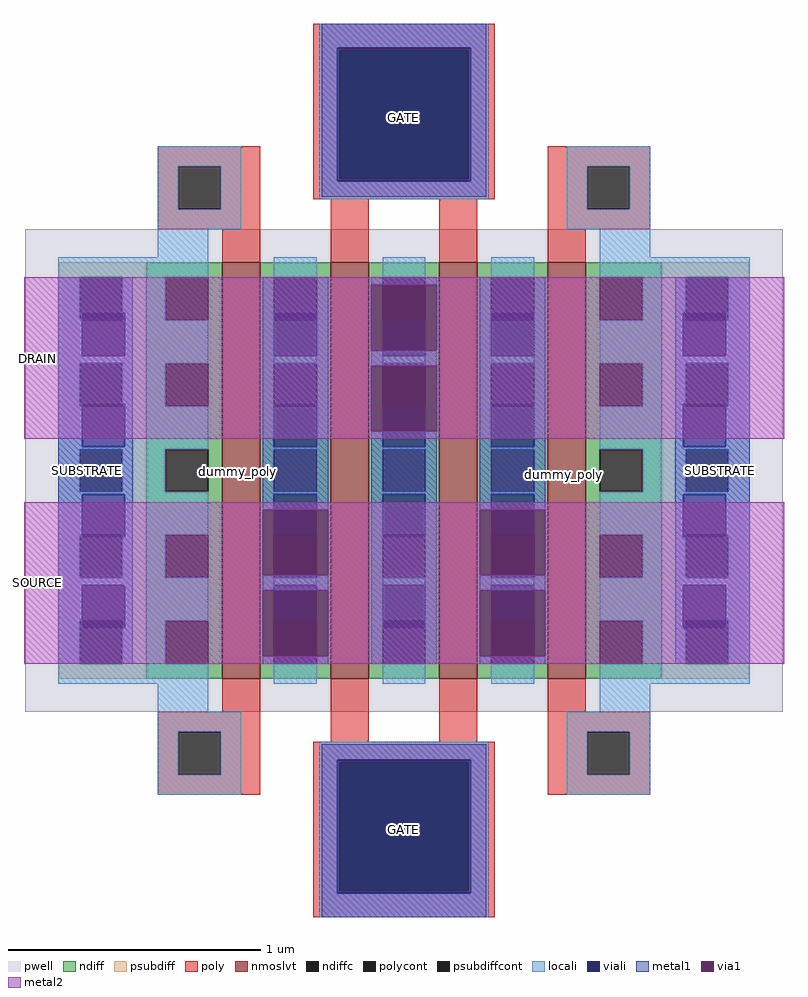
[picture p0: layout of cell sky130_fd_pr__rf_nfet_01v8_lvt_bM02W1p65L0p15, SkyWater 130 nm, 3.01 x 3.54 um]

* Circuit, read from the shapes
.subckt sky130_fd_pr__rf_nfet_01v8_lvt_bM02W1p65L0p15 DRAIN GATE SOURCE SUBSTRATE
XM1 SOURCE SUBSTRATE SUBSTRATE SUBSTRATE sky130_fd_pr__nfet_01v8_lvt w=1.65 l=0.15 m=2
XM2 DRAIN GATE SOURCE SUBSTRATE sky130_fd_pr__nfet_01v8_lvt w=1.65 l=0.15 m=2
.ends

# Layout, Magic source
magic
tech sky130A
magscale 1 2
<< pwell >>
rect 15 163 615 545
<< nmoslvt >>
rect 171 189 201 519
rect 257 189 287 519
rect 343 189 373 519
rect 429 189 459 519
<< ndiff >>
rect 111 507 171 519
rect 111 473 126 507
rect 160 473 171 507
rect 111 439 171 473
rect 111 405 126 439
rect 160 405 171 439
rect 111 371 171 405
rect 111 337 126 371
rect 160 337 171 371
rect 111 303 171 337
rect 111 269 126 303
rect 160 269 171 303
rect 111 235 171 269
rect 111 201 126 235
rect 160 201 171 235
rect 111 189 171 201
rect 201 507 257 519
rect 201 473 212 507
rect 246 473 257 507
rect 201 439 257 473
rect 201 405 212 439
rect 246 405 257 439
rect 201 371 257 405
rect 201 337 212 371
rect 246 337 257 371
rect 201 303 257 337
rect 201 269 212 303
rect 246 269 257 303
rect 201 235 257 269
rect 201 201 212 235
rect 246 201 257 235
rect 201 189 257 201
rect 287 507 343 519
rect 287 473 298 507
rect 332 473 343 507
rect 287 439 343 473
rect 287 405 298 439
rect 332 405 343 439
rect 287 371 343 405
rect 287 337 298 371
rect 332 337 343 371
rect 287 303 343 337
rect 287 269 298 303
rect 332 269 343 303
rect 287 235 343 269
rect 287 201 298 235
rect 332 201 343 235
rect 287 189 343 201
rect 373 507 429 519
rect 373 473 384 507
rect 418 473 429 507
rect 373 439 429 473
rect 373 405 384 439
rect 418 405 429 439
rect 373 371 429 405
rect 373 337 384 371
rect 418 337 429 371
rect 373 303 429 337
rect 373 269 384 303
rect 418 269 429 303
rect 373 235 429 269
rect 373 201 384 235
rect 418 201 429 235
rect 373 189 429 201
rect 459 507 519 519
rect 459 473 470 507
rect 504 473 519 507
rect 459 439 519 473
rect 459 405 470 439
rect 504 405 519 439
rect 459 371 519 405
rect 459 337 470 371
rect 504 337 519 371
rect 459 303 519 337
rect 459 269 470 303
rect 504 269 519 303
rect 459 235 519 269
rect 459 201 470 235
rect 504 201 519 235
rect 459 189 519 201
<< ndiffc >>
rect 126 473 160 507
rect 126 405 160 439
rect 126 337 160 371
rect 126 269 160 303
rect 126 201 160 235
rect 212 473 246 507
rect 212 405 246 439
rect 212 337 246 371
rect 212 269 246 303
rect 212 201 246 235
rect 298 473 332 507
rect 298 405 332 439
rect 298 337 332 371
rect 298 269 332 303
rect 298 201 332 235
rect 384 473 418 507
rect 384 405 418 439
rect 384 337 418 371
rect 384 269 418 303
rect 384 201 418 235
rect 470 473 504 507
rect 470 405 504 439
rect 470 337 504 371
rect 470 269 504 303
rect 470 201 504 235
<< psubdiff >>
rect 41 507 111 519
rect 41 473 58 507
rect 92 473 111 507
rect 41 439 111 473
rect 41 405 58 439
rect 92 405 111 439
rect 41 371 111 405
rect 41 337 58 371
rect 92 337 111 371
rect 41 303 111 337
rect 41 269 58 303
rect 92 269 111 303
rect 41 235 111 269
rect 41 201 58 235
rect 92 201 111 235
rect 41 189 111 201
rect 519 507 589 519
rect 519 473 538 507
rect 572 473 589 507
rect 519 439 589 473
rect 519 405 538 439
rect 572 405 589 439
rect 519 371 589 405
rect 519 337 538 371
rect 572 337 589 371
rect 519 303 589 337
rect 519 269 538 303
rect 572 269 589 303
rect 519 235 589 269
rect 519 201 538 235
rect 572 201 589 235
rect 519 189 589 201
<< psubdiffcont >>
rect 58 473 92 507
rect 58 405 92 439
rect 58 337 92 371
rect 58 269 92 303
rect 58 201 92 235
rect 538 473 572 507
rect 538 405 572 439
rect 538 337 572 371
rect 538 269 572 303
rect 538 201 572 235
<< poly >>
rect 243 687 387 708
rect 120 595 201 611
rect 120 561 136 595
rect 170 561 201 595
rect 243 585 264 687
rect 366 585 387 687
rect 243 569 387 585
rect 429 595 510 611
rect 120 545 201 561
rect 171 519 201 545
rect 257 519 287 569
rect 343 519 373 569
rect 429 561 460 595
rect 494 561 510 595
rect 429 545 510 561
rect 429 519 459 545
rect 171 163 201 189
rect 120 147 201 163
rect 120 113 136 147
rect 170 113 201 147
rect 257 139 287 189
rect 343 139 373 189
rect 429 163 459 189
rect 429 147 510 163
rect 120 97 201 113
rect 243 123 387 139
rect 243 21 264 123
rect 366 21 387 123
rect 429 113 460 147
rect 494 113 510 147
rect 429 97 510 113
rect 243 0 387 21
<< polycont >>
rect 136 561 170 595
rect 264 585 366 687
rect 460 561 494 595
rect 136 113 170 147
rect 264 21 366 123
rect 460 113 494 147
<< locali >>
rect 248 689 382 708
rect 120 595 186 611
rect 120 561 136 595
rect 170 561 186 595
rect 248 583 262 689
rect 368 583 382 689
rect 248 569 382 583
rect 444 595 510 611
rect 120 545 186 561
rect 444 561 460 595
rect 494 561 510 595
rect 444 545 510 561
rect 120 523 160 545
rect 470 523 510 545
rect 41 507 160 523
rect 41 473 58 507
rect 92 479 126 507
rect 94 473 126 479
rect 41 445 60 473
rect 94 445 160 473
rect 41 439 160 445
rect 41 405 58 439
rect 92 407 126 439
rect 94 405 126 407
rect 41 373 60 405
rect 94 373 160 405
rect 41 371 160 373
rect 41 337 58 371
rect 92 337 126 371
rect 41 335 160 337
rect 41 303 60 335
rect 94 303 160 335
rect 41 269 58 303
rect 94 301 126 303
rect 92 269 126 301
rect 41 263 160 269
rect 41 235 60 263
rect 94 235 160 263
rect 41 201 58 235
rect 94 229 126 235
rect 92 201 126 229
rect 41 185 160 201
rect 212 507 246 523
rect 212 439 246 445
rect 212 371 246 373
rect 212 335 246 337
rect 212 263 246 269
rect 212 185 246 201
rect 298 507 332 523
rect 298 439 332 445
rect 298 371 332 373
rect 298 335 332 337
rect 298 263 332 269
rect 298 185 332 201
rect 384 507 418 523
rect 384 439 418 445
rect 384 371 418 373
rect 384 335 418 337
rect 384 263 418 269
rect 384 185 418 201
rect 470 507 589 523
rect 504 479 538 507
rect 504 473 536 479
rect 572 473 589 507
rect 470 445 536 473
rect 570 445 589 473
rect 470 439 589 445
rect 504 407 538 439
rect 504 405 536 407
rect 572 405 589 439
rect 470 373 536 405
rect 570 373 589 405
rect 470 371 589 373
rect 504 337 538 371
rect 572 337 589 371
rect 470 335 589 337
rect 470 303 536 335
rect 570 303 589 335
rect 504 301 536 303
rect 504 269 538 301
rect 572 269 589 303
rect 470 263 589 269
rect 470 235 536 263
rect 570 235 589 263
rect 504 229 536 235
rect 504 201 538 229
rect 572 201 589 235
rect 470 185 589 201
rect 120 163 160 185
rect 470 163 510 185
rect 120 147 186 163
rect 120 113 136 147
rect 170 113 186 147
rect 444 147 510 163
rect 120 97 186 113
rect 248 125 382 139
rect 248 19 262 125
rect 368 19 382 125
rect 444 113 460 147
rect 494 113 510 147
rect 444 97 510 113
rect 248 0 382 19
<< viali >>
rect 262 687 368 689
rect 262 585 264 687
rect 264 585 366 687
rect 366 585 368 687
rect 262 583 368 585
rect 60 473 92 479
rect 92 473 94 479
rect 60 445 94 473
rect 60 405 92 407
rect 92 405 94 407
rect 60 373 94 405
rect 60 303 94 335
rect 60 301 92 303
rect 92 301 94 303
rect 60 235 94 263
rect 60 229 92 235
rect 92 229 94 235
rect 212 473 246 479
rect 212 445 246 473
rect 212 405 246 407
rect 212 373 246 405
rect 212 303 246 335
rect 212 301 246 303
rect 212 235 246 263
rect 212 229 246 235
rect 298 473 332 479
rect 298 445 332 473
rect 298 405 332 407
rect 298 373 332 405
rect 298 303 332 335
rect 298 301 332 303
rect 298 235 332 263
rect 298 229 332 235
rect 384 473 418 479
rect 384 445 418 473
rect 384 405 418 407
rect 384 373 418 405
rect 384 303 418 335
rect 384 301 418 303
rect 384 235 418 263
rect 384 229 418 235
rect 536 473 538 479
rect 538 473 570 479
rect 536 445 570 473
rect 536 405 538 407
rect 538 405 570 407
rect 536 373 570 405
rect 536 303 570 335
rect 536 301 538 303
rect 538 301 570 303
rect 536 235 570 263
rect 536 229 538 235
rect 538 229 570 235
rect 262 123 368 125
rect 262 21 264 123
rect 264 21 366 123
rect 366 21 368 123
rect 262 19 368 21
<< metal1 >>
rect 250 689 380 708
rect 250 583 262 689
rect 368 583 380 689
rect 250 571 380 583
rect 41 479 100 507
rect 41 445 60 479
rect 94 445 100 479
rect 41 407 100 445
rect 41 373 60 407
rect 94 373 100 407
rect 41 335 100 373
rect 41 301 60 335
rect 94 301 100 335
rect 41 263 100 301
rect 41 229 60 263
rect 94 229 100 263
rect 41 201 100 229
rect 203 479 255 507
rect 203 445 212 479
rect 246 445 255 479
rect 203 407 255 445
rect 203 373 212 407
rect 246 373 255 407
rect 203 335 255 373
rect 203 323 212 335
rect 246 323 255 335
rect 203 263 255 271
rect 203 259 212 263
rect 246 259 255 263
rect 203 201 255 207
rect 289 501 341 507
rect 289 445 298 449
rect 332 445 341 449
rect 289 437 341 445
rect 289 373 298 385
rect 332 373 341 385
rect 289 335 341 373
rect 289 301 298 335
rect 332 301 341 335
rect 289 263 341 301
rect 289 229 298 263
rect 332 229 341 263
rect 289 201 341 229
rect 375 479 427 507
rect 375 445 384 479
rect 418 445 427 479
rect 375 407 427 445
rect 375 373 384 407
rect 418 373 427 407
rect 375 335 427 373
rect 375 323 384 335
rect 418 323 427 335
rect 375 263 427 271
rect 375 259 384 263
rect 418 259 427 263
rect 375 201 427 207
rect 530 479 589 507
rect 530 445 536 479
rect 570 445 589 479
rect 530 407 589 445
rect 530 373 536 407
rect 570 373 589 407
rect 530 335 589 373
rect 530 301 536 335
rect 570 301 589 335
rect 530 263 589 301
rect 530 229 536 263
rect 570 229 589 263
rect 530 201 589 229
rect 250 125 380 137
rect 250 19 262 125
rect 368 19 380 125
rect 250 0 380 19
<< via1 >>
rect 203 301 212 323
rect 212 301 246 323
rect 246 301 255 323
rect 203 271 255 301
rect 203 229 212 259
rect 212 229 246 259
rect 246 229 255 259
rect 203 207 255 229
rect 289 479 341 501
rect 289 449 298 479
rect 298 449 332 479
rect 332 449 341 479
rect 289 407 341 437
rect 289 385 298 407
rect 298 385 332 407
rect 332 385 341 407
rect 375 301 384 323
rect 384 301 418 323
rect 418 301 427 323
rect 375 271 427 301
rect 375 229 384 259
rect 384 229 418 259
rect 418 229 427 259
rect 375 207 427 229
<< metal2 >>
rect 14 501 616 507
rect 14 449 289 501
rect 341 449 616 501
rect 14 437 616 449
rect 14 385 289 437
rect 341 385 616 437
rect 14 379 616 385
rect 14 323 616 329
rect 14 271 203 323
rect 255 271 375 323
rect 427 271 616 323
rect 14 259 616 271
rect 14 207 203 259
rect 255 207 375 259
rect 427 207 616 259
rect 14 201 616 207
<< labels >>
flabel comment s 183 353 183 353 0 FreeSans 180 90 0 0 dummy_poly
flabel comment s 441 351 441 351 0 FreeSans 180 90 0 0 dummy_poly
flabel metal1 s 255 608 374 659 0 FreeSans 200 0 0 0 GATE
port 2 nsew
flabel metal1 s 255 44 374 95 0 FreeSans 200 0 0 0 GATE
port 2 nsew
flabel metal1 s 543 339 589 369 0 FreeSans 200 90 0 0 SUBSTRATE
port 4 nsew
flabel metal1 s 41 339 87 369 0 FreeSans 200 90 0 0 SUBSTRATE
port 4 nsew
flabel metal2 s 14 201 35 329 7 FreeSans 300 180 0 0 SOURCE
port 3 nsew
flabel metal2 s 14 379 35 507 7 FreeSans 300 180 0 0 DRAIN
port 1 nsew
<< properties >>
string GDS_FILE $PDKPATH/libs.ref/sky130_fd_pr/gds/sky130_fd_pr.gds
string GDS_END 6266280
string GDS_START 6255256
<< end >>
